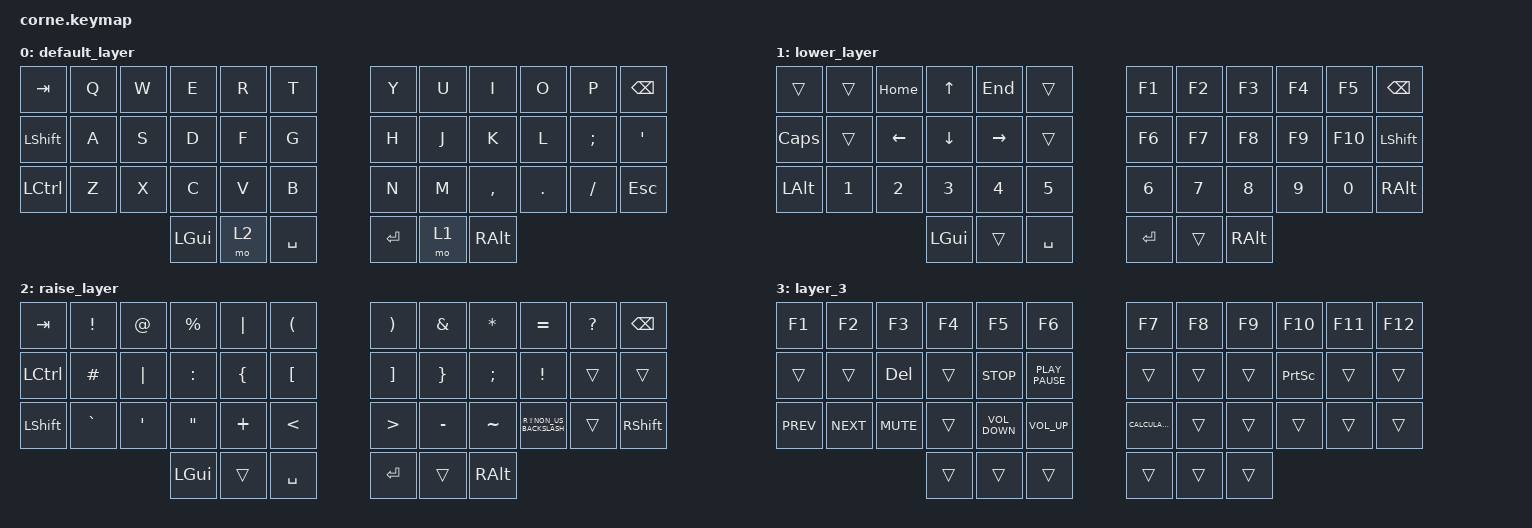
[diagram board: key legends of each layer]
/*
 * Copyright (c) 2020 The ZMK Contributors
 *
 * SPDX-License-Identifier: MIT
 */

#include <behaviors.dtsi>
#include <dt-bindings/zmk/keys.h>

/ {
    keymap {
        compatible = "zmk,keymap";

        default_layer {
            // -----------------------------------------------------------------------------------------
            // |  TAB |  Q  |  W  |  E  |  R  |  T  |   |  Y  |  U   |  I  |  O  |  P  | BSPC |
            // | CTRL |  A  |  S  |  D  |  F  |  G  |   |  H  |  J   |  K  |  L  |  ;  |  '   |
            // | SHFT |  Z  |  X  |  C  |  V  |  B  |   |  N  |  M   |  ,  |  .  |  /  | ESC  |
            //                    | GUI | LWR | SPC |   | ENT | RSE  | ALT |

            bindings = <
&kp TAB         &kp Q  &kp W  &kp E     &kp R  &kp T        &kp Y    &kp U  &kp I      &kp O    &kp P     &kp BSPC
&kp LEFT_SHIFT  &kp A  &kp S  &kp D     &kp F  &kp G        &kp H    &kp J  &kp K      &kp L    &kp SEMI  &kp SQT
&kp LCTRL       &kp Z  &kp X  &kp C     &kp V  &kp B        &kp N    &kp M  &kp COMMA  &kp DOT  &kp FSLH  &kp ESC
                              &kp LGUI  &mo 2  &kp SPACE    &kp RET  &mo 1  &kp RALT
            >;
        };

        lower_layer {
            // -----------------------------------------------------------------------------------------
            // |  TAB |  1  |  2  |  3  |  4  |  5  |   |  6  |  7  |  8  |  9  |  0  | BSPC |
            // | BTCLR| BT1 | BT2 | BT3 | BT4 | BT5 |   | LFT | DWN |  UP | RGT |     |      |
            // | SHFT |     |     |     |     |     |   |     |     |     |     |     |      |
            //                    | GUI |     | SPC |   | ENT |     | ALT |

            bindings = <
&trans        &trans        &kp HOME        &kp UP_ARROW    &kp END          &trans       &kp F1        &kp F2  &kp F3    &kp F4  &kp F5   &kp BSPC
&kp CAPSLOCK  &trans        &kp LEFT_ARROW  &kp DOWN_ARROW  &kp RIGHT_ARROW  &trans       &kp F6        &kp F7  &kp F8    &kp F9  &kp F10  &kp LEFT_SHIFT
&kp LEFT_ALT  &kp NUMBER_1  &kp NUMBER_2    &kp NUMBER_3    &kp NUMBER_4     &kp N5       &kp NUMBER_6  &kp N7  &kp N8    &kp N9  &kp N0   &kp RIGHT_ALT
                                            &kp LGUI        &trans           &kp SPACE    &kp RET       &trans  &kp RALT
            >;
        };

        raise_layer {
            // -----------------------------------------------------------------------------------------
            // |  TAB |  !  |  @  |  #  |  $  |  %  |   |  ^  |  &  |  *  |  (  |  )  | BSPC |
            // | CTRL |     |     |     |     |     |   |  -  |  =  |  [  |  ]  |  \  |  `   |
            // | SHFT |     |     |     |     |     |   |  _  |  +  |  {  |  }  | "|" |  ~   |
            //                    | GUI |     | SPC |   | ENT |     | ALT |

            bindings = <
&kp TAB    &kp EXCLAMATION  &kp AT    &kp PERCENT        &kp PIPE        &kp LEFT_PARENTHESIS    &kp RIGHT_PARENTHESIS  &kp AMPS         &kp ASTRK      &kp EQUAL                 &kp QUESTION  &kp BSPC
&kp LCTRL  &kp HASH         &kp PIPE  &kp COLON          &kp LEFT_BRACE  &kp LEFT_BRACKET        &kp RIGHT_BRACKET      &kp RIGHT_BRACE  &kp SEMICOLON  &kp EXCLAMATION           &trans        &trans
&kp LSHFT  &kp GRAVE        &kp SQT   &kp DOUBLE_QUOTES  &kp PLUS        &kp LESS_THAN           &kp GREATER_THAN       &kp MINUS        &kp TILDE      &kp RS(NON_US_BACKSLASH)  &trans        &kp RIGHT_SHIFT
                                      &kp LGUI           &trans          &kp SPACE               &kp RET                &trans           &kp RALT
            >;
        };

        layer_3 {
            bindings = <
&kp F1      &kp F2      &kp F3      &kp F4  &kp F5             &kp F6              &kp F7            &kp F8  &kp F9  &kp F10          &kp F11  &kp F12
&trans      &trans      &kp DELETE  &trans  &kp K_STOP         &kp K_PLAY_PAUSE    &trans            &trans  &trans  &kp PRINTSCREEN  &trans   &trans
&kp K_PREV  &kp C_NEXT  &kp C_MUTE  &trans  &kp C_VOLUME_DOWN  &kp C_VOL_UP        &kp K_CALCULATOR  &trans  &trans  &trans           &trans   &trans
                                    &trans  &trans             &trans              &trans            &trans  &trans
            >;
        };
    };
};
